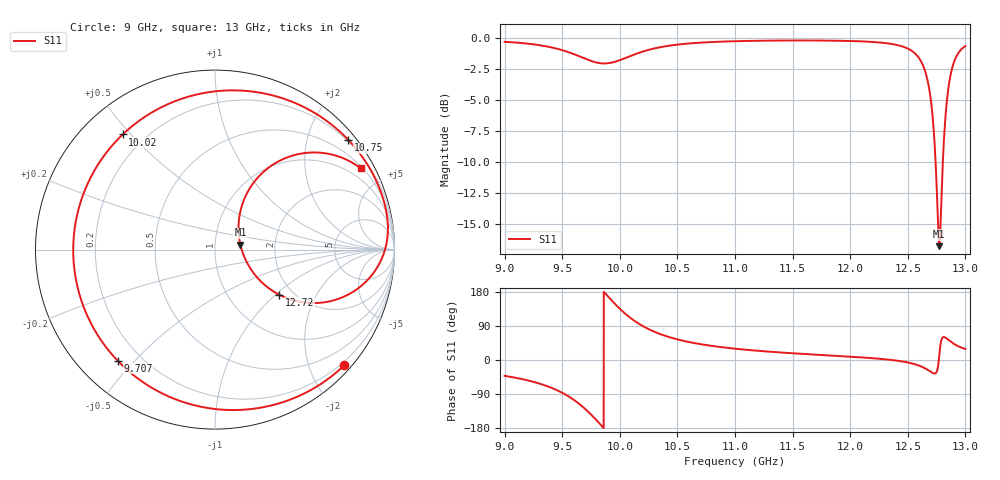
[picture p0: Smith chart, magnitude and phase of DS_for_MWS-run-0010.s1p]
! TOUCHSTONE file generated by CST DESIGN STUDIO
! Date and time: Tue Feb  4 18:17:07 2025
! Project name: C:\Work\MatlabApps\UnitCellOptimizationMatlab\CST\unitcell.cst
! Tree item: Tasks\Sweep1\SPara1\S-Parameters
! Header version: 2024
! Port assignment regex: !\s*Touchstone port\s*([0-9]+)\s*=\s*(CST MWS port|CST DES external port|CST DES block port)\s*(.+)\s* \(\"(.*)\"\)(\s*mode\s*([0-9]+))?.*
! Touchstone port assignment:
! Touchstone port 1 = CST DES external port 1 ("")
# GHz S MA R 50
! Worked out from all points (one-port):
!   4001 points, 9 GHz to 13 GHz, reference 50 ohm
!   lowest |S11| = -16.8 dB at 12.77 GHz (marker M1), VSWR 1.34, Z = 66.3 + j3.77 ohm
!   |S11| at or under -10 dB: 12.74118 GHz to 12.80425 GHz (63.07 MHz wide, 0.494 % of centre)
!   S11 on the Smith chart (normalised r, x): 9 GHz: 0.13, -2.61; 9.707 GHz: 0.12, -0.45; 10.02 GHz: 0.12, +0.47; 10.75 GHz: 0.17, +2.79; 12.72 GHz: 1.70, -1.06; 13 GHz: 0.57, +3.76
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9  0.9665 -41.8
9.279  0.9401 -60.1
9.5  0.8943 -86.5
9.611  0.8582 -107.4
9.707  0.823 -131.2
9.787  0.7992 -155.4
9.855  0.7901 -178.0
9.923  0.795 159.2
10  0.8145 135.2
10.023  0.8221 128.7
10.107  0.852 107.7
10.202  0.8832 89.1
10.343  0.9176 69.3
10.5  0.9416 54.4
10.75  0.962 39.4
11  0.9719 29.8
11.5  0.9786 17.8
12  0.9737 8.8
12.5  0.9073 -6.5
12.63  0.7795 -19.0
12.685  0.6269 -28.4
12.723  0.4368 -35.1
12.773  0.1441 11.1
12.786  0.186 45.2
12.808  0.3448 60.3
12.859  0.6589 51.6
12.925  0.8488 38.3
13  0.9292 29.2
